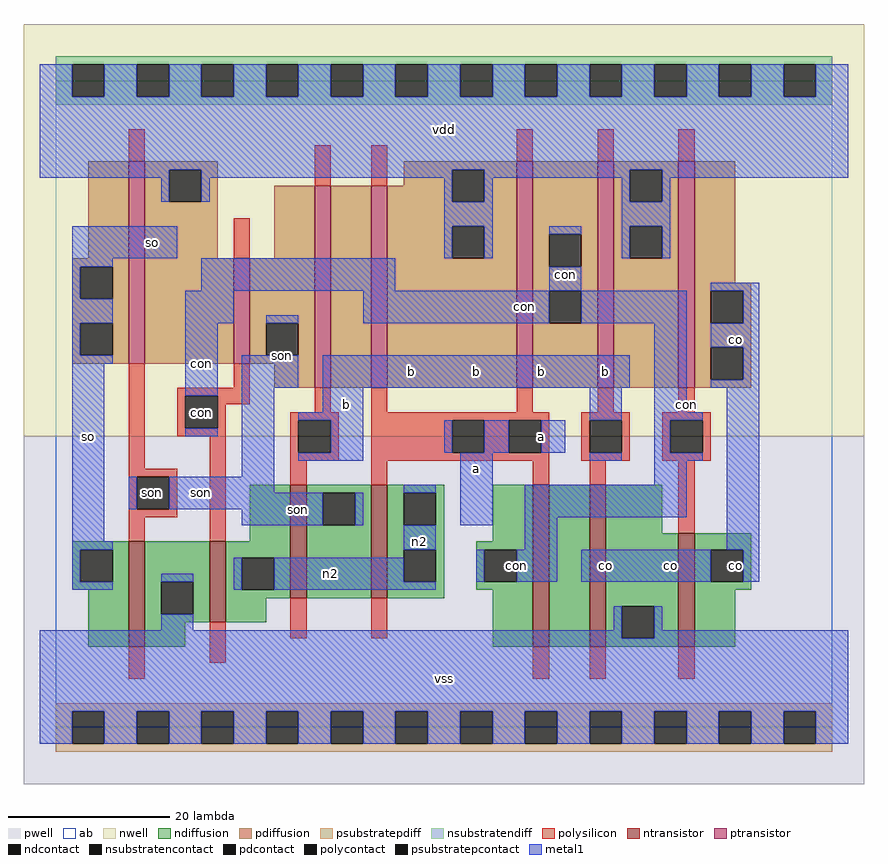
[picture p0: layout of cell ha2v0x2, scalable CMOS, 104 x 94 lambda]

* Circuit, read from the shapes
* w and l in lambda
.subckt ha2v0x2 a b co con n2 so son vdd vss
M1 vss son so vss nfet w=13 l=2
M2 n2 con vss vss nfet w=10 l=2
M3 son b n2 vss nfet w=14 l=2
M4 n2 a son vss nfet w=14 l=2
M5 n1 a con vss nfet w=20 l=2
M6 vss b n1 vss nfet w=20 l=2
M7 co con vss vss nfet w=14 l=2
M8 vdd son so vdd pfet w=25 l=2
M9 son con vdd vdd pfet w=13 l=2
M10 n3 b son vdd pfet w=25 l=2
M11 vdd a n3 vdd pfet w=25 l=2
M12 con a vdd vdd pfet w=28 l=2
M13 vdd b con vdd pfet w=28 l=2
M14 co con vdd vdd pfet w=28 l=2
.ends

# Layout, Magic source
magic
tech scmos
<< ab >>
rect 0 0 96 80
<< pwell >>
rect -4 -7 100 36
<< nwell >>
rect -4 36 100 87
<< polysilicon >>
rect 9 70 11 74
rect 32 67 34 72
rect 39 67 41 72
rect 57 70 59 74
rect 67 70 69 74
rect 77 70 79 74
rect 22 58 24 63
rect 9 32 11 45
rect 22 42 24 45
rect 15 41 24 42
rect 15 37 16 41
rect 20 40 24 41
rect 20 37 21 40
rect 32 39 34 42
rect 39 39 41 42
rect 57 39 59 42
rect 67 39 69 42
rect 77 39 79 42
rect 15 36 21 37
rect 9 31 15 32
rect 9 27 10 31
rect 14 27 15 31
rect 9 26 15 27
rect 9 23 11 26
rect 19 23 21 36
rect 29 38 35 39
rect 29 34 30 38
rect 34 34 35 38
rect 29 33 35 34
rect 39 38 61 39
rect 39 34 49 38
rect 53 34 56 38
rect 60 34 61 38
rect 39 33 61 34
rect 65 38 71 39
rect 65 34 66 38
rect 70 34 71 38
rect 65 33 71 34
rect 75 38 81 39
rect 75 34 76 38
rect 80 34 81 38
rect 75 33 81 34
rect 29 30 31 33
rect 39 30 41 33
rect 59 30 61 33
rect 66 30 68 33
rect 9 6 11 10
rect 19 8 21 13
rect 29 11 31 16
rect 39 11 41 16
rect 77 24 79 33
rect 59 6 61 10
rect 66 6 68 10
rect 77 6 79 10
<< ndiffusion >>
rect 24 23 29 30
rect 2 22 9 23
rect 2 18 3 22
rect 7 18 9 22
rect 2 17 9 18
rect 4 10 9 17
rect 11 18 19 23
rect 11 14 13 18
rect 17 14 19 18
rect 11 13 19 14
rect 21 21 29 23
rect 21 17 23 21
rect 27 17 29 21
rect 21 16 29 17
rect 31 29 39 30
rect 31 25 33 29
rect 37 25 39 29
rect 31 16 39 25
rect 41 29 48 30
rect 41 25 43 29
rect 47 25 48 29
rect 41 22 48 25
rect 54 23 59 30
rect 41 18 43 22
rect 47 18 48 22
rect 41 16 48 18
rect 52 22 59 23
rect 52 18 53 22
rect 57 18 59 22
rect 52 17 59 18
rect 21 13 26 16
rect 11 10 16 13
rect 54 10 59 17
rect 61 10 66 30
rect 68 24 75 30
rect 68 15 77 24
rect 68 11 70 15
rect 74 11 77 15
rect 68 10 77 11
rect 79 22 86 24
rect 79 18 81 22
rect 85 18 86 22
rect 79 17 86 18
rect 79 10 84 17
<< pdiffusion >>
rect 4 58 9 70
rect 2 57 9 58
rect 2 53 3 57
rect 7 53 9 57
rect 2 50 9 53
rect 2 46 3 50
rect 7 46 9 50
rect 2 45 9 46
rect 11 69 20 70
rect 11 65 14 69
rect 18 65 20 69
rect 43 69 57 70
rect 43 67 49 69
rect 11 58 20 65
rect 27 58 32 67
rect 11 45 22 58
rect 24 50 32 58
rect 24 46 26 50
rect 30 46 32 50
rect 24 45 32 46
rect 27 42 32 45
rect 34 42 39 67
rect 41 65 49 67
rect 53 65 57 69
rect 41 62 57 65
rect 41 58 49 62
rect 53 58 57 62
rect 41 42 57 58
rect 59 61 67 70
rect 59 57 61 61
rect 65 57 67 61
rect 59 54 67 57
rect 59 50 61 54
rect 65 50 67 54
rect 59 42 67 50
rect 69 69 77 70
rect 69 65 71 69
rect 75 65 77 69
rect 69 62 77 65
rect 69 58 71 62
rect 75 58 77 62
rect 69 42 77 58
rect 79 55 84 70
rect 79 54 86 55
rect 79 50 81 54
rect 85 50 86 54
rect 79 47 86 50
rect 79 43 81 47
rect 85 43 86 47
rect 79 42 86 43
<< metal1 >>
rect -2 78 2 82
rect 6 78 10 82
rect 14 78 18 82
rect 22 78 26 82
rect 30 78 34 82
rect 38 78 42 82
rect 46 78 50 82
rect 54 78 58 82
rect 62 78 66 82
rect 70 78 74 82
rect 78 78 82 82
rect 86 78 90 82
rect 94 78 98 82
rect -2 69 98 78
rect -2 68 14 69
rect 13 65 14 68
rect 18 68 49 69
rect 18 65 19 68
rect 48 65 49 68
rect 53 68 71 69
rect 53 65 54 68
rect 48 62 54 65
rect 70 65 71 68
rect 75 68 98 69
rect 75 65 76 68
rect 70 62 76 65
rect 2 58 15 62
rect 48 58 49 62
rect 53 58 54 62
rect 61 61 65 62
rect 2 57 7 58
rect 2 53 3 57
rect 18 54 42 58
rect 70 58 71 62
rect 75 58 76 62
rect 61 54 65 57
rect 81 54 87 55
rect 2 50 7 53
rect 2 46 3 50
rect 2 45 7 46
rect 16 50 22 54
rect 26 50 30 51
rect 38 50 61 54
rect 65 50 78 54
rect 2 23 6 45
rect 16 41 20 50
rect 16 36 20 37
rect 23 42 30 46
rect 33 42 71 46
rect 23 31 27 42
rect 33 39 38 42
rect 30 38 38 39
rect 66 38 70 42
rect 34 34 38 38
rect 48 34 49 38
rect 53 34 56 38
rect 60 34 63 38
rect 30 33 38 34
rect 9 27 10 31
rect 14 29 27 31
rect 43 29 47 30
rect 14 27 33 29
rect 23 25 33 27
rect 37 25 38 29
rect 50 25 54 34
rect 66 33 70 34
rect 74 39 78 50
rect 85 50 87 54
rect 81 47 87 50
rect 85 43 87 47
rect 81 42 87 43
rect 74 38 80 39
rect 74 34 76 38
rect 74 33 80 34
rect 74 30 78 33
rect 58 26 78 30
rect 2 22 7 23
rect 2 18 3 22
rect 43 22 47 25
rect 58 22 62 26
rect 83 22 87 42
rect 2 17 7 18
rect 13 18 17 19
rect 22 17 23 21
rect 27 18 43 21
rect 52 18 53 22
rect 57 18 62 22
rect 65 18 81 22
rect 85 18 87 22
rect 27 17 47 18
rect 13 12 17 14
rect 69 12 70 15
rect -2 11 70 12
rect 74 12 75 15
rect 74 11 98 12
rect -2 2 98 11
rect -2 -2 2 2
rect 6 -2 10 2
rect 14 -2 18 2
rect 22 -2 26 2
rect 30 -2 34 2
rect 38 -2 42 2
rect 46 -2 50 2
rect 54 -2 58 2
rect 62 -2 66 2
rect 70 -2 74 2
rect 78 -2 82 2
rect 86 -2 90 2
rect 94 -2 98 2
<< ntransistor >>
rect 9 10 11 23
rect 19 13 21 23
rect 29 16 31 30
rect 39 16 41 30
rect 59 10 61 30
rect 66 10 68 30
rect 77 10 79 24
<< ptransistor >>
rect 9 45 11 70
rect 22 45 24 58
rect 32 42 34 67
rect 39 42 41 67
rect 57 42 59 70
rect 67 42 69 70
rect 77 42 79 70
<< polycontact >>
rect 16 37 20 41
rect 10 27 14 31
rect 30 34 34 38
rect 49 34 53 38
rect 56 34 60 38
rect 66 34 70 38
rect 76 34 80 38
<< ndcontact >>
rect 3 18 7 22
rect 13 14 17 18
rect 23 17 27 21
rect 33 25 37 29
rect 43 25 47 29
rect 43 18 47 22
rect 53 18 57 22
rect 70 11 74 15
rect 81 18 85 22
<< pdcontact >>
rect 3 53 7 57
rect 3 46 7 50
rect 14 65 18 69
rect 26 46 30 50
rect 49 65 53 69
rect 49 58 53 62
rect 61 57 65 61
rect 61 50 65 54
rect 71 65 75 69
rect 71 58 75 62
rect 81 50 85 54
rect 81 43 85 47
<< psubstratepcontact >>
rect 2 -2 6 2
rect 10 -2 14 2
rect 18 -2 22 2
rect 26 -2 30 2
rect 34 -2 38 2
rect 42 -2 46 2
rect 50 -2 54 2
rect 58 -2 62 2
rect 66 -2 70 2
rect 74 -2 78 2
rect 82 -2 86 2
rect 90 -2 94 2
<< nsubstratencontact >>
rect 2 78 6 82
rect 10 78 14 82
rect 18 78 22 82
rect 26 78 30 82
rect 34 78 38 82
rect 42 78 46 82
rect 50 78 54 82
rect 58 78 62 82
rect 66 78 70 82
rect 74 78 78 82
rect 82 78 86 82
rect 90 78 94 82
<< psubstratepdiff >>
rect 0 2 96 3
rect 0 -2 2 2
rect 6 -2 10 2
rect 14 -2 18 2
rect 22 -2 26 2
rect 30 -2 34 2
rect 38 -2 42 2
rect 46 -2 50 2
rect 54 -2 58 2
rect 62 -2 66 2
rect 70 -2 74 2
rect 78 -2 82 2
rect 86 -2 90 2
rect 94 -2 96 2
rect 0 -3 96 -2
<< nsubstratendiff >>
rect 0 82 96 83
rect 0 78 2 82
rect 6 78 10 82
rect 14 78 18 82
rect 22 78 26 82
rect 30 78 34 82
rect 38 78 42 82
rect 46 78 50 82
rect 54 78 58 82
rect 62 78 66 82
rect 70 78 74 82
rect 78 78 82 82
rect 86 78 90 82
rect 94 78 96 82
rect 0 77 96 78
<< labels >>
rlabel polycontact 12 29 12 29 6 son
rlabel polycontact 18 39 18 39 6 con
rlabel polysilicon 78 40 78 40 6 con
rlabel metal1 4 36 4 36 6 so
rlabel metal1 12 60 12 60 6 so
rlabel metal1 18 29 18 29 6 son
rlabel metal1 28 46 28 46 6 son
rlabel metal1 18 45 18 45 6 con
rlabel metal1 48 6 48 6 6 vss
rlabel metal1 30 27 30 27 6 son
rlabel metal1 34 19 34 19 6 n2
rlabel metal1 45 23 45 23 6 n2
rlabel metal1 52 32 52 32 6 a
rlabel metal1 36 40 36 40 6 b
rlabel metal1 52 44 52 44 6 b
rlabel metal1 44 44 44 44 6 b
rlabel metal1 48 74 48 74 6 vdd
rlabel metal1 57 20 57 20 6 con
rlabel metal1 76 20 76 20 6 co
rlabel metal1 68 20 68 20 6 co
rlabel metal1 60 36 60 36 6 a
rlabel metal1 60 44 60 44 6 b
rlabel metal1 68 44 68 44 6 b
rlabel metal1 63 56 63 56 6 con
rlabel metal1 58 52 58 52 6 con
rlabel metal1 76 40 76 40 6 con
rlabel ndcontact 84 20 84 20 6 co
rlabel metal1 84 48 84 48 6 co
<< end >>
